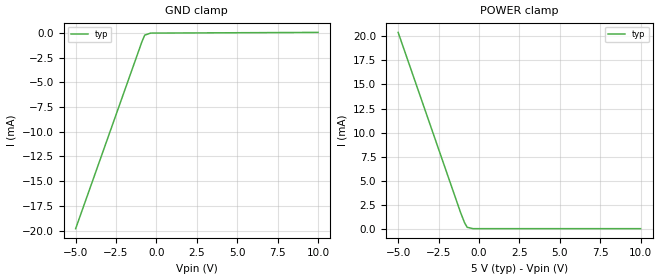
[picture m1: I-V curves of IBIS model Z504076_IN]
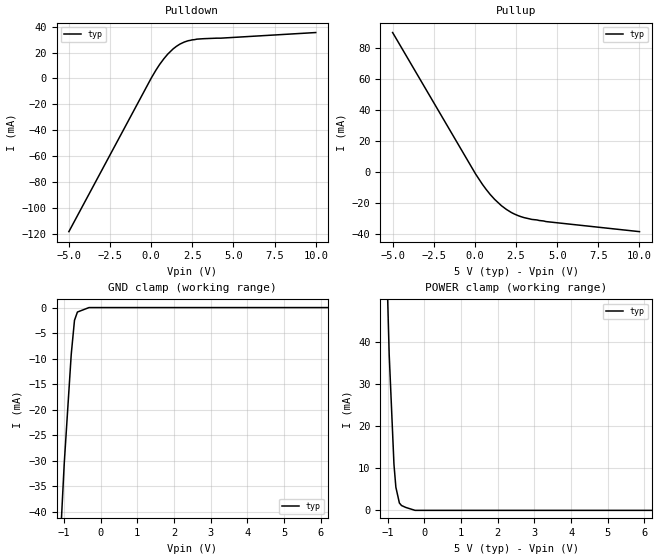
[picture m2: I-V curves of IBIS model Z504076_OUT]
| YOU ARE ONLY AUTHORIZED TO USE THIS SOFTWARE
| ACCORDING TO LICENSOR'S LICENSE RESTRICTIONS.
[IBIS Ver] 3.1
[File Name] mc54hc195j.ibs
[File Rev] 2.0
[Source] Measured and created by ICX Technology
[Date] Friday 7/14/00 9:08:06 AM
[Copyright]
| (C) COPYRIGHT 1993-2000
| MENTOR GRAPHICS CORPORATION
| ICX STANDARD LIBRARY, ICX PROJECT MODELING,
| ICX CUSTOM MODELING, ICX VENDOR MODEL
| ALL RIGHTS RESERVED.
| THE FOLLOWING ARE TRADEMARKS OR SERVICE MARKS OF
| MENTOR GRAPHICS CORPORATION:ICX (R), ICX STANDARD
| LIBRARY(R), ICX PROJECT MODELING(R), ICX CUSTOM
| MODELING(R), qualityIBIS(TM), MODELVIEWER(TM),
| AND MODELEDITOR(TM)
| ALL COPIES OF SOFTWARE, INCLUDING BUT NOT LIMITED TO
| ANY MODIFICATIONS, ENHANCEMENTS OR DERIVATIVE WORKS,
| MUST CONTAIN ALL MENTOR GRAPHICS CORPORATION'S
| NOTICES AND LEGENDS, INCLUDING THOSE EMBEDDED IN
| SOFTWARE AND THOSE AFFIXED TO SOFTWARE MEDIUM
| AND CONTAINER, AS RECEIVED FROM MENTOR GRAPHICS
| CORPORATION.
|  ZAP Model Builder 2.7
[Component] MC54HC195J
[Manufacturer] OnSemiconductor
[Package]
| variable   typ   min   max
R_pkg  .212ohms NA NA
L_pkg  4.758nH NA NA
C_pkg  1.944pF NA NA
[Pin] signal_name  model_name  R_pin  L_pin C_pin
1 _CLR Z504076_IN .224 7.258n 2.683p
2 J Z504076_IN .216 5.258n 2.19p
3 _K Z504076_IN .208 3.758n 1.697p
4 A Z504076_IN .2 2.758n 1.204p
5 B Z504076_IN .2 2.758n 1.204p
6 C Z504076_IN .208 3.758n 1.697p
7 D Z504076_IN .216 5.258n 2.19p
8 GND GND .224 7.258n 2.683p
9 SH_LD Z504076_IN .224 7.258n 2.683p
10 CLK Z504076_IN .216 5.258n 2.19p
11 _QD Z504076_OUT .208 3.758n 1.697p
12 QD Z504076_OUT .2 2.758n 1.204p
13 QC Z504076_OUT .2 2.758n 1.204p
14 QB Z504076_OUT .208 3.758n 1.697p
15 QA Z504076_OUT .216 5.258n 2.19p
16 VCC POWER .224 7.258n 2.683p
| Models and submodels in the file (2): Z504076_IN (Input), Z504076_OUT (Output)
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| (C) COPYRIGHT 1993-2000
| MENTOR GRAPHICS CORPORATION
| ICX STANDARD LIBRARY, ICX PROJECT MODELING,
| ICX CUSTOM MODELING, ICX VENDOR MODEL
| ALL RIGHTS RESERVED.
| THE FOLLOWING ARE TRADEMARKS OR SERVICE MARKS OF
| MENTOR GRAPHICS CORPORATION:ICX (R), ICX STANDARD
| LIBRARY(R), ICX PROJECT MODELING(R), ICX CUSTOM
| MODELING(R), qualityIBIS(TM), MODELVIEWER(TM),
| AND MODELEDITOR(TM)
| ALL COPIES OF SOFTWARE, INCLUDING BUT NOT LIMITED TO
| ANY MODIFICATIONS, ENHANCEMENTS OR DERIVATIVE WORKS,
| MUST CONTAIN ALL MENTOR GRAPHICS CORPORATION'S
| NOTICES AND LEGENDS, INCLUDING THOSE EMBEDDED IN
| SOFTWARE AND THOSE AFFIXED TO SOFTWARE MEDIUM
| AND CONTAINER, AS RECEIVED FROM MENTOR GRAPHICS
| CORPORATION.
| Model Application Version 1.89 2/18/99.
[Model] Z504076_IN
Model_type Input
Vinl = 1.000V
Vinh = 3.500V
C_comp 4.000pF NA NA
| variable typ   min   max
[Voltage Range] 5.000V NA NA
[GND Clamp Reference] 0.000V NA NA
[POWER Clamp Reference] 5.000V NA NA
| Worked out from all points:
|   POWER clamp passes 1 mA (typ) near -0.98 V on its own axis
[GND Clamp]
-5V       -19.81mA   NA         NA
-897.9mV  -896.2uA   NA         NA
-728.1mV  -238.4uA   NA         NA
-364.1mV  -29.23uA   NA         NA
10V       41.88uA    NA         NA
[POWER Clamp]
-5V       20.42mA    NA         NA
-1.133V   1.655mA    NA         NA
-885mV    595.5uA    NA         NA
-729mV    141.9uA    NA         NA
-364.5mV  0A         NA         NA
10V       0A         NA         NA
| (C) COPYRIGHT 1993-2000
| MENTOR GRAPHICS CORPORATION
| ICX STANDARD LIBRARY, ICX PROJECT MODELING,
| ICX CUSTOM MODELING, ICX VENDOR MODEL
| ALL RIGHTS RESERVED.
| THE FOLLOWING ARE TRADEMARKS OR SERVICE MARKS OF
| MENTOR GRAPHICS CORPORATION:ICX (R), ICX STANDARD
| LIBRARY(R), ICX PROJECT MODELING(R), ICX CUSTOM
| MODELING(R), qualityIBIS(TM), MODELVIEWER(TM),
| AND MODELEDITOR(TM)
| ALL COPIES OF SOFTWARE, INCLUDING BUT NOT LIMITED TO
| ANY MODIFICATIONS, ENHANCEMENTS OR DERIVATIVE WORKS,
| MUST CONTAIN ALL MENTOR GRAPHICS CORPORATION'S
| NOTICES AND LEGENDS, INCLUDING THOSE EMBEDDED IN
| SOFTWARE AND THOSE AFFIXED TO SOFTWARE MEDIUM
| AND CONTAINER, AS RECEIVED FROM MENTOR GRAPHICS
| CORPORATION.
| Model Application Version 1.89 2/18/99.
[Model] Z504076_OUT
Model_type Output
Vref=0.000V
Rref=500.0Mohms
Cref=50.00pF
Vmeas=2.500V
C_comp 8.000pF NA NA
| variable typ   min   max
[Voltage Range] 5.000V NA NA
[POWER Clamp Reference] 5.000V NA NA
[Pullup Reference] 5.000V NA NA
[Pulldown Reference] 0.000V NA NA
[GND Clamp Reference] 0.000V NA NA
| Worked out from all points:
|   slope of the pulldown table from 0 to 0.75 V, typ, clamps not added: 51 ohm
|   slope of the pullup table from 0 to 0.75 V, typ, clamps not added: 64.6 ohm
|   GND clamp passes 1 mA (typ) near -0.64 V on its own axis
|   POWER clamp passes 1 mA (typ) near -0.58 V on its own axis
[GND Clamp]
-5V       -1.391A    NA         NA
-1.264V   -87.48mA   NA         NA
-1.17V    -62.48mA   NA         NA
-1.076V   -42.85mA   NA         NA
-990.1mV  -30.59mA   NA         NA
-798.9mV  -9.155mA   NA         NA
-710.4mV  -2.491mA   NA         NA
-630.7mV  -878.6uA   NA         NA
-315.3mV  0A         NA         NA
10V       0A         NA         NA
[Pulldown]
-5V       -118.3mA   NA         NA
8.621mV   321uA      NA         NA
513.3mV   10.76mA    NA         NA
772.1mV   15.19mA    NA         NA
1.338V    22.84mA    NA         NA
1.754V    26.55mA    NA         NA
2.014V    28.1mA     NA         NA
2.786V    30.34mA    NA         NA
10V       35.43mA    NA         NA
[Pullup]
-5V       90.1mA     NA         NA
39mV      -1.197mA   NA         NA
453mV     -7.881mA   NA         NA
927mV     -14.45mA   NA         NA
1.617V    -21.77mA   NA         NA
2.41V     -27.17mA   NA         NA
3.463V    -30.59mA   NA         NA
10V       -38.48mA   NA         NA
[POWER Clamp]
-5V       1.575A     NA         NA
-1.104V   83.09mA    NA         NA
-957mV    36.98mA    NA         NA
-827mV    10.9mA     NA         NA
-775mV    5.479mA    NA         NA
-679mV    1.738mA    NA         NA
-622mV    1.151mA    NA         NA
-504mV    688uA      NA         NA
-252mV    0A         NA         NA
10V       0A         NA         NA
[Ramp]
| variable typ min max
dV/dt_r 2.687/1.923n NA NA
dV/dt_f 2.687/1.494n NA NA
R_load = 500.0Ohms
